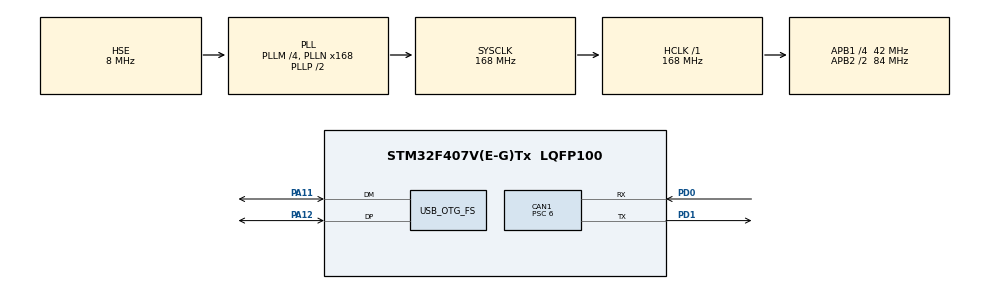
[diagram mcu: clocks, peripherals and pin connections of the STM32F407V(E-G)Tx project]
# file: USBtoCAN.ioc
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Mcu.Family=STM32F4
USB_DEVICE.CLASS_NAME_FS=CDC
PH0-OSC_IN.Signal=RCC_OSC_IN
RCC.CortexFreq_Value=168000000
USB_DEVICE.VirtualModeFS=Cdc_FS
CAN1.CalculateBaudRate=500000
PA11.Mode=Device_Only
PD1.Signal=CAN1_TX
USB_DEVICE.VirtualMode-CDC_FS=Cdc
RCC.APB1CLKDivider=RCC_HCLK_DIV4
RCC.SYSCLKSource=RCC_SYSCLKSOURCE_PLLCLK
ProjectManager.StackSize=0x4000
PA12.Signal=USB_OTG_FS_DP
CAN1.BS2=CAN_BS2_2TQ
CAN1.BS1=CAN_BS1_11TQ
ProjectManager.TargetToolchain=STM32CubeIDE
RCC.HCLKFreq_Value=168000000
VP_USB_DEVICE_VS_USB_DEVICE_CDC_FS.Mode=CDC_FS
RCC.APB2TimFreq_Value=168000000
PD0.Signal=CAN1_RX
RCC.LSE_VALUE=32768
RCC.AHBFreq_Value=168000000
PH0-OSC_IN.Mode=HSE-External-Oscillator
RCC.HSE_VALUE=8000000
board=custom
RCC.VCOOutputFreq_Value=336000000
PD1.Mode=CAN_Activate
RCC.APB2Freq_Value=84000000
PH1-OSC_OUT.Signal=RCC_OSC_OUT
Mcu.Name=STM32F407V(E-G)Tx
PD0.Mode=CAN_Activate
RCC.48MHZClocksFreq_Value=48000000
PH1-OSC_OUT.Mode=HSE-External-Oscillator
RCC.SYSCLKFreq_VALUE=168000000
CAN1.Prescaler=6
Mcu.Package=LQFP100
PA12.Mode=Device_Only
NVIC.OTG_FS_IRQn=true\:0\:0\:false\:false\:true\:false\:true
PA11.Signal=USB_OTG_FS_DM
USB_OTG_FS.VirtualMode=Device_Only
ProjectManager.HeapSize=0x2000
RCC.HSI_VALUE=16000000
RCC.PLLQ=7
NVIC.PriorityGroup=NVIC_PRIORITYGROUP_4
RCC.APB2CLKDivider=RCC_HCLK_DIV2
RCC.PLLM=4
RCC.PLLN=168
RCC.APB1TimFreq_Value=84000000
RCC.APB1Freq_Value=42000000
CAN1.CalculateTimeBit=1999.99
NVIC.CAN1_RX0_IRQn=true\:0\:0\:false\:false\:true\:true\:true
CAN1.CalculateTimeQuantum=142.85714285714286

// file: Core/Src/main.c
/* USER CODE BEGIN Header */
/**
  ******************************************************************************
  * @file           : main.c
  * @brief          : Main program body
  ******************************************************************************
  * @attention
  *
  * <h2><center>&copy; Copyright (c) 2021 STMicroelectronics.
  * All rights reserved.</center></h2>
  *
  * This software component is licensed by ST under BSD 3-Clause license,
  * the "License"; You may not use this file except in compliance with the
  * License. You may obtain a copy of the License at:
  *                        opensource.org/licenses/BSD-3-Clause
  *
  ******************************************************************************
  */
/* USER CODE END Header */
#include "main.h"
#include "can.h"
#include "usb_device.h"
#include "gpio.h"

/* USER CODE BEGIN Includes */
#include "usbd_cdc_if.h"
#include <string.h>
/* USER CODE END Includes */

/* USER CODE BEGIN PD */

#define CAN_H			 	hcan1				// CAN handle
#define SPECIAL_CMD_LEN		8

/* USER CODE END PD */

void SystemClock_Config(void);

/* USER CODE BEGIN 0 */
uint8_t buff[20] = "Hello world! \r\n";
CANTxMessage can_tx;
CANRxMessage can_rx;
volatile uint8_t flag_can_rx = 0;
static union python_msg tx;
/* USER CODE END 0 */

int main(void)
{

  /* MCU Configuration--------------------------------------------------------*/

  /* Reset of all peripherals, Initializes the Flash interface and the Systick. */
  HAL_Init();

  /* Configure the system clock */
  SystemClock_Config();

  /* Initialize all configured peripherals */
  MX_GPIO_Init();
  MX_USB_DEVICE_Init();
  MX_CAN1_Init();
  /* USER CODE BEGIN 2 */

	/* CAN setup */
	CAN_User_Config(&CAN_H, &can_rx, &can_tx);

  /* USER CODE END 2 */

  /* Infinite loop */
  while (1)
  {
//	HAL_Delay(100);
	if (flag_can_rx){
		// Transmit data together with address through USB (from CAN interrupt doesnt work)
		flag_can_rx = 0;
		CDC_Transmit_FS(tx.bytes, 13);
	}

  }
}

void SystemClock_Config(void)
{
  RCC_OscInitTypeDef RCC_OscInitStruct = {0};
  RCC_ClkInitTypeDef RCC_ClkInitStruct = {0};

  /** Configure the main internal regulator output voltage
  */
  __HAL_RCC_PWR_CLK_ENABLE();
  __HAL_PWR_VOLTAGESCALING_CONFIG(PWR_REGULATOR_VOLTAGE_SCALE1);
  /** Initializes the RCC Oscillators according to the specified parameters
  * in the RCC_OscInitTypeDef structure.
  */
  RCC_OscInitStruct.OscillatorType = RCC_OSCILLATORTYPE_HSE;
  RCC_OscInitStruct.HSEState = RCC_HSE_ON;
  RCC_OscInitStruct.PLL.PLLState = RCC_PLL_ON;
  RCC_OscInitStruct.PLL.PLLSource = RCC_PLLSOURCE_HSE;
  RCC_OscInitStruct.PLL.PLLM = 4;
  RCC_OscInitStruct.PLL.PLLN = 168;
  RCC_OscInitStruct.PLL.PLLP = RCC_PLLP_DIV2;
  RCC_OscInitStruct.PLL.PLLQ = 7;
  if (HAL_RCC_OscConfig(&RCC_OscInitStruct) != HAL_OK)
  {
    Error_Handler();
  }
  /** Initializes the CPU, AHB and APB buses clocks
  */
  RCC_ClkInitStruct.ClockType = RCC_CLOCKTYPE_HCLK|RCC_CLOCKTYPE_SYSCLK
                              |RCC_CLOCKTYPE_PCLK1|RCC_CLOCKTYPE_PCLK2;
  RCC_ClkInitStruct.SYSCLKSource = RCC_SYSCLKSOURCE_PLLCLK;
  RCC_ClkInitStruct.AHBCLKDivider = RCC_SYSCLK_DIV1;
  RCC_ClkInitStruct.APB1CLKDivider = RCC_HCLK_DIV4;
  RCC_ClkInitStruct.APB2CLKDivider = RCC_HCLK_DIV2;

  if (HAL_RCC_ClockConfig(&RCC_ClkInitStruct, FLASH_LATENCY_5) != HAL_OK)
  {
    Error_Handler();
  }
}

/* USER CODE BEGIN 4 */

void HAL_CAN_RxFifo0MsgPendingCallback(CAN_HandleTypeDef *hcan)
{
	/* Get RX message */
	if (hcan != &CAN_H){
		printf("Check can receiver!");
	}
	if (HAL_CAN_GetRxMessage(&CAN_H, CAN_RX_FIFO0, &can_rx.rx_header, can_rx.data) != HAL_OK)
	{
		/* Reception Error */
		Error_Handler();
	}

	if(can_rx.rx_header.DLC != 6){	// 6 byte compressed values
		printf("Warning: CAN packet of length 6 expected, received %ld .\n", can_rx.rx_header.DLC);
	}

	unpack_pvt(&tx.values[0], &tx.values[1], &tx.values[2], can_rx.data);	// uncompress to 3 * (4 byte float value)

	printf("Received package intended for CAN ID: 0x%lx \n", can_rx.rx_header.StdId);

	tx.bytes[12] = (uint8_t) can_rx.data[5]; //add address as last byte (address should fit within 8 bits)

	// From CAN interrupt transmission doesn't work, schedule transmission in non-interrupt mode
	flag_can_rx = 1;

}

void CDC_Receive_Callback(uint8_t* Buf, uint16_t Len)
{
	uint32_t TxMailbox;
	can_tx.tx_header.StdId = Buf[Len-1]; //Last byte is destination address

	if (Buf[0] == 0xFF && (Len-1) == SPECIAL_CMD_LEN) { // SPECIAL_CMD_LEN bytes special command + 1 byte address
		can_tx.tx_header.DLC = Len - 1;
		HAL_CAN_AddTxMessage(&CAN_H, &can_tx.tx_header, Buf, &TxMailbox);	// Send message
	}
	else {
		if(Len!= 21){	// 5 * (4 byte float value) + 1 byte address
		  printf("Warning: CDC packet of length 21 expected, received %d .\n", Len);
		}
		can_tx.tx_header.DLC = 8; //Data will be compressed to 8 bytes
		union python_msg rx;
		memcpy(rx.bytes, Buf, Len-1);

		// rx should have data ordered in sequence: p_des, v_des, kp, kd, t_ff
		pack_pvkt(can_tx.data, rx.values[0], rx.values[1], rx.values[2], rx.values[3], rx.values[4]);
		HAL_CAN_AddTxMessage(&CAN_H, &can_tx.tx_header, can_tx.data, &TxMailbox);	// Send message
	}
//	uint8_t bytes[] = {0x48,0x65,0x79,0x20,0x77,0x68,0x61,0x74,0x73,0x20,0x70,0x0d,0x0a,0x70,0x70,0x70,0x0a,0x0a,0x0a,0x0a};
//	CDC_Transmit_FS(bytes, 13);
}
/* USER CODE END 4 */

void Error_Handler(void)
{
  __disable_irq();
  while (1)
  {
  }
}

/************************ (C) COPYRIGHT STMicroelectronics *****END OF FILE****/
